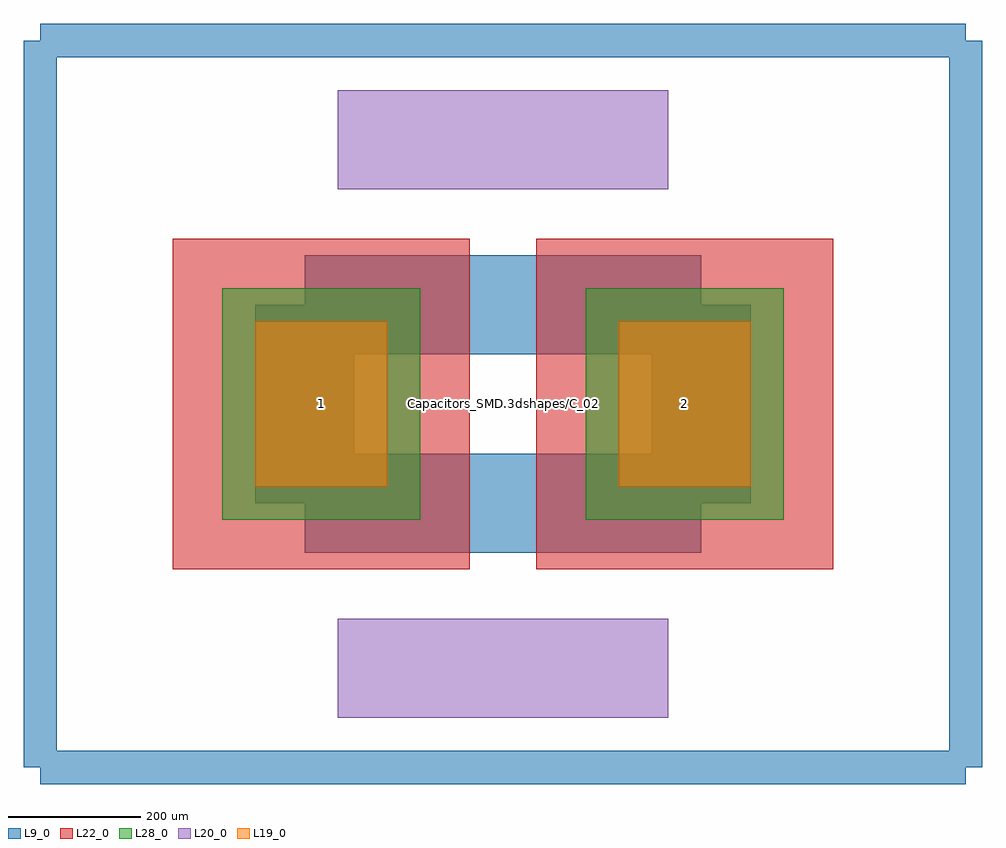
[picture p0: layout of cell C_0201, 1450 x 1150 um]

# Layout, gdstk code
import gdstk
lib = gdstk.Library(unit=1e-6, precision=1e-09)
def R(c, l, rs):  # rectangles x0, y0, x1, y1
    for r in rs: c.add(gdstk.rectangle(r[:2], r[2:], *l))
L9_0 = (9, 0)
L19_0 = (19, 0)
L20_0 = (20, 0)
L22_0 = (22, 0)
L28_0 = (28, 0)

c_0201 = lib.new_cell('C_0201')
R(c_0201, L19_0, [(-375,-125,-175,125), (175,-125,375,125)])
R(c_0201, L22_0, [(-500,-250,-50,250), (50,-250,500,250)])
R(c_0201, L28_0, [(-425,-175,-125,175), (125,-175,425,175)])
c_0201.add(gdstk.FlexPath([(-250,400),(250,400)], 149.998, ends="flush", simple_path=True, layer=20, datatype=0))  # L20_0
c_0201.add(gdstk.FlexPath([(250,-400),(-250,-400)], 149.998, ends="flush", simple_path=True, layer=20, datatype=0))  # L20_0
c_0201.add(gdstk.FlexPath([(700,550),(700,-550)], 50, ends="flush", simple_path=True, layer=9, datatype=0))  # L9_0
c_0201.add(gdstk.FlexPath([(-700,550),(-700,-550)], 50, ends="flush", simple_path=True, layer=9, datatype=0))  # L9_0
c_0201.add(gdstk.FlexPath([(-700,-550),(700,-550)], 50, ends="flush", simple_path=True, layer=9, datatype=0))  # L9_0
c_0201.add(gdstk.FlexPath([(-700,550),(700,550)], 50, ends="flush", simple_path=True, layer=9, datatype=0))  # L9_0
c_0201.add(gdstk.FlexPath([(-300,150),(300,150)], 149.998, ends="flush", simple_path=True, layer=9, datatype=0))  # L9_0
c_0201.add(gdstk.FlexPath([(300,150),(300,-150)], 149.998, ends="flush", simple_path=True, layer=9, datatype=0))  # L9_0
c_0201.add(gdstk.FlexPath([(300,-150),(-300,-150)], 149.998, ends="flush", simple_path=True, layer=9, datatype=0))  # L9_0
c_0201.add(gdstk.FlexPath([(-300,-150),(-300,150)], 149.998, ends="flush", simple_path=True, layer=9, datatype=0))  # L9_0
c_0201.add(gdstk.Label('Capacitors_SMD.3dshapes/C_0201.wrl', (0,0), layer=12, texttype=0))
c_0201.add(gdstk.Label('2', (275,0), layer=28, texttype=0))
c_0201.add(gdstk.Label('1', (-275,0), layer=28, texttype=0))
c_0201.add(gdstk.Label('type', (0,-1700), layer=9, texttype=0))
c_0201.add(gdstk.Label('devicename', (0,1700), layer=9, texttype=0))

lib.write_gds('C_0201.gds')
